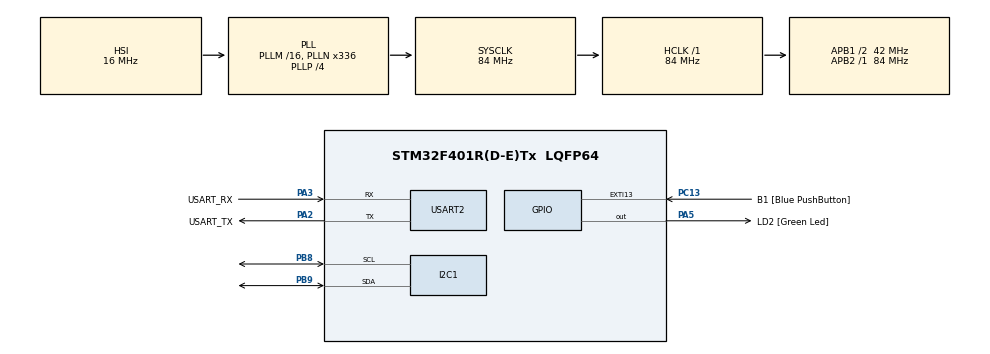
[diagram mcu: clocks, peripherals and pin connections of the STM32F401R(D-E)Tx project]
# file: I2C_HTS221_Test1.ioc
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Mcu.Family=STM32F4
Mcu.Name=STM32F401R(D-E)Tx
Mcu.Package=LQFP64
NVIC.PriorityGroup=NVIC_PRIORITYGROUP_0
PA13.GPIO_Label=TMS
PA13.Mode=Serial_Wire
PA13.Signal=SYS_JTMS-SWDIO
PA14.GPIO_Label=TCK
PA14.Mode=Serial_Wire
PA14.Signal=SYS_JTCK-SWCLK
PA2.GPIO_Label=USART_TX
PA2.GPIO_Mode=GPIO_MODE_AF_PP
PA2.GPIO_PuPd=GPIO_NOPULL
PA2.GPIO_Speed=GPIO_SPEED_FREQ_LOW
PA2.Mode=Asynchronous
PA2.Signal=USART2_TX
PA3.GPIO_Label=USART_RX
PA3.GPIO_Mode=GPIO_MODE_AF_PP
PA3.GPIO_PuPd=GPIO_NOPULL
PA3.GPIO_Speed=GPIO_SPEED_FREQ_LOW
PA3.Mode=Asynchronous
PA3.Signal=USART2_RX
PA5.GPIO_Label=LD2 [Green Led]
PA5.GPIO_Mode=GPIO_MODE_OUTPUT_PP
PA5.GPIO_PuPd=GPIO_NOPULL
PA5.GPIO_Speed=GPIO_SPEED_FREQ_LOW
PA5.Signal=GPIO_Output
PB3.GPIO_Label=SWO
PB3.Signal=SYS_JTDO-SWO
PB8.Mode=I2C
PB8.Signal=I2C1_SCL
PB9.Mode=I2C
PB9.Signal=I2C1_SDA
PC13-ANTI_TAMP.GPIO_Label=B1 [Blue PushButton]
PC13-ANTI_TAMP.GPIO_ModeDefaultEXTI=GPIO_MODE_IT_FALLING
PC13-ANTI_TAMP.GPIO_PuPd=GPIO_NOPULL
PC13-ANTI_TAMP.Signal=GPXTI13
PC14-OSC32_IN.Mode=LSE-External-Oscillator
PC14-OSC32_IN.Signal=RCC_OSC32_IN
PC15-OSC32_OUT.Mode=LSE-External-Oscillator
PC15-OSC32_OUT.Signal=RCC_OSC32_OUT
PH0\ -\ OSC_IN.Mode=HSE-External-Clock-Source
PH0\ -\ OSC_IN.Signal=RCC_OSC_IN
PH1\ -\ OSC_OUT.Mode=HSE-External-Clock-Source
PH1\ -\ OSC_OUT.Signal=RCC_OSC_OUT
ProjectManager.HeapSize=0x200
ProjectManager.StackSize=0x400
ProjectManager.TargetToolchain=SW4STM32
RCC.48MHZClocksFreq_Value=48000000
RCC.AHBFreq_Value=84000000
RCC.APB1CLKDivider=RCC_HCLK_DIV2
RCC.APB1Freq_Value=42000000
RCC.APB1TimFreq_Value=84000000
RCC.APB2Freq_Value=84000000
RCC.APB2TimFreq_Value=84000000
RCC.CortexFreq_Value=84000000
RCC.HCLKFreq_Value=84000000
RCC.HSE_VALUE=8000000
RCC.HSI_VALUE=16000000
RCC.PLLN=336
RCC.PLLP=RCC_PLLP_DIV4
RCC.PLLQ=7
RCC.SYSCLKFreq_VALUE=84000000
RCC.SYSCLKSource=RCC_SYSCLKSOURCE_PLLCLK
RCC.VCOOutputFreq_Value=336000000
USART2.VirtualMode=VM_ASYNC
board=NUCLEO-F401RE

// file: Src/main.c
/**
 ******************************************************************************
 * @file           : main.c
 * @brief          : Main program body
 ******************************************************************************
 ** This notice applies to any and all portions of this file
 * that are not between comment pairs USER CODE BEGIN and
 * USER CODE END. Other portions of this file, whether
 * inserted by the user or by software development tools
 * are owned by their respective copyright owners.
 *
 * COPYRIGHT(c) 2018 STMicroelectronics
 *
 * Redistribution and use in source and binary forms, with or without modification,
 * are permitted provided that the following conditions are met:
 *   1. Redistributions of source code must retain the above copyright notice,
 *      this list of conditions and the following disclaimer.
 *   2. Redistributions in binary form must reproduce the above copyright notice,
 *      this list of conditions and the following disclaimer in the documentation
 *      and/or other materials provided with the distribution.
 *   3. Neither the name of STMicroelectronics nor the names of its contributors
 *      may be used to endorse or promote products derived from this software
 *      without specific prior written permission.
 *
 * THIS SOFTWARE IS PROVIDED BY THE COPYRIGHT HOLDERS AND CONTRIBUTORS "AS IS"
 * AND ANY EXPRESS OR IMPLIED WARRANTIES, INCLUDING, BUT NOT LIMITED TO, THE
 * IMPLIED WARRANTIES OF MERCHANTABILITY AND FITNESS FOR A PARTICULAR PURPOSE ARE
 * DISCLAIMED. IN NO EVENT SHALL THE COPYRIGHT HOLDER OR CONTRIBUTORS BE LIABLE
 * FOR ANY DIRECT, INDIRECT, INCIDENTAL, SPECIAL, EXEMPLARY, OR CONSEQUENTIAL
 * DAMAGES (INCLUDING, BUT NOT LIMITED TO, PROCUREMENT OF SUBSTITUTE GOODS OR
 * SERVICES; LOSS OF USE, DATA, OR PROFITS; OR BUSINESS INTERRUPTION) HOWEVER
 * CAUSED AND ON ANY THEORY OF LIABILITY, WHETHER IN CONTRACT, STRICT LIABILITY,
 * OR TORT (INCLUDING NEGLIGENCE OR OTHERWISE) ARISING IN ANY WAY OUT OF THE USE
 * OF THIS SOFTWARE, EVEN IF ADVISED OF THE POSSIBILITY OF SUCH DAMAGE.
 *
 ******************************************************************************
 */
#include "main.h"
#include "stm32f4xx_hal.h"

/* USER CODE BEGIN Includes */

#include "HTS221_driver.h"

/* USER CODE END Includes */

I2C_HandleTypeDef hi2c1;

UART_HandleTypeDef huart2;

/* USER CODE BEGIN PV */
/* Private variables ---------------------------------------------------------*/

/* USER CODE END PV */

void SystemClock_Config(void);
static void MX_GPIO_Init(void);
static void MX_USART2_UART_Init(void);
static void MX_I2C1_Init(void);

/* USER CODE BEGIN PFP */
/* Private function prototypes -----------------------------------------------*/
int hts221_init();
int hts221_enable();
int hts221_read_id(uint8_t *id);
int hts221_get_temperature(float* pfData);
int hts221_get_humidity(float* pfData);

/* USER CODE END PFP */

/* USER CODE BEGIN 0 */

#ifdef __GNUC__
#define PUTCHAR_PROTOTYPE int __io_putchar(int ch)
#else
#define PUTCHAR_PROTOTYPE int fputc(int ch, FILE *f)
#endif /* __GNUC__ */

PUTCHAR_PROTOTYPE {
	HAL_UART_Transmit(&huart2, (uint8_t *) &ch, 1, 0xFFFF);
	return ch;
}

/* USER CODE END 0 */

int main(void) {

	/* MCU Configuration----------------------------------------------------------*/

	/* Reset of all peripherals, Initializes the Flash interface and the Systick. */
	HAL_Init();

	/* Configure the system clock */
	SystemClock_Config();

	/* Initialize all configured peripherals */
	MX_GPIO_Init();
	MX_USART2_UART_Init();
	MX_I2C1_Init();
	/* USER CODE BEGIN 2 */

	//printf("Test %f %i\r\n", 0.1234f, 1234);
	int res;

	//INIT HTS221
	res = hts221_init();
	if (res == 0) {
		printf("HTS221 INIT OK\r\n");
	} else {
		printf("HTS221 INIT ERROR\r\n");
	}

	//ENABLE HTS221
	res = hts221_enable();
	if (res == 0) {
		printf("HTS221 ENABLE OK\r\n");
	} else {
		printf("HTS221 ENABLE ERROR\r\n");
	}

	//READ_ID HTS221
	uint8_t id;
	res = hts221_read_id(&id);
	if (res == 0) {
		printf("HTS221 Address: 0x%X\r\n", id);
	} else {
		printf("HTS221 READ_ID ERROR\r\n");
	}

	//GET_TEMPERATURE HTS221
	float temp, hum;
	uint8_t res2;

	/* USER CODE END 2 */

	/* Infinite loop */
	while (1) {

		/* USER CODE BEGIN 3 */

		res = hts221_get_temperature(&temp);
		res2 = hts221_get_humidity(&hum);
		if (res == 0 && res2 == 0)
			printf("HTS221: [temp] %.2f C, [hum] %.2f %%\r\n", temp, hum);
		else
			printf("HTS221: Error\r\n");
		HAL_Delay(500);

	}
	/* USER CODE END 3 */

}

void SystemClock_Config(void) {

	RCC_OscInitTypeDef RCC_OscInitStruct;
	RCC_ClkInitTypeDef RCC_ClkInitStruct;

	/**Configure the main internal regulator output voltage
	 */
	__HAL_RCC_PWR_CLK_ENABLE()
	;

	__HAL_PWR_VOLTAGESCALING_CONFIG(PWR_REGULATOR_VOLTAGE_SCALE2);

	/**Initializes the CPU, AHB and APB busses clocks
	 */
	RCC_OscInitStruct.OscillatorType = RCC_OSCILLATORTYPE_HSI;
	RCC_OscInitStruct.HSIState = RCC_HSI_ON;
	RCC_OscInitStruct.HSICalibrationValue = 16;
	RCC_OscInitStruct.PLL.PLLState = RCC_PLL_ON;
	RCC_OscInitStruct.PLL.PLLSource = RCC_PLLSOURCE_HSI;
	RCC_OscInitStruct.PLL.PLLM = 16;
	RCC_OscInitStruct.PLL.PLLN = 336;
	RCC_OscInitStruct.PLL.PLLP = RCC_PLLP_DIV4;
	RCC_OscInitStruct.PLL.PLLQ = 7;
	if (HAL_RCC_OscConfig(&RCC_OscInitStruct) != HAL_OK) {
		_Error_Handler(__FILE__, __LINE__);
	}

	/**Initializes the CPU, AHB and APB busses clocks
	 */
	RCC_ClkInitStruct.ClockType = RCC_CLOCKTYPE_HCLK | RCC_CLOCKTYPE_SYSCLK
			| RCC_CLOCKTYPE_PCLK1 | RCC_CLOCKTYPE_PCLK2;
	RCC_ClkInitStruct.SYSCLKSource = RCC_SYSCLKSOURCE_PLLCLK;
	RCC_ClkInitStruct.AHBCLKDivider = RCC_SYSCLK_DIV1;
	RCC_ClkInitStruct.APB1CLKDivider = RCC_HCLK_DIV2;
	RCC_ClkInitStruct.APB2CLKDivider = RCC_HCLK_DIV1;

	if (HAL_RCC_ClockConfig(&RCC_ClkInitStruct, FLASH_LATENCY_2) != HAL_OK) {
		_Error_Handler(__FILE__, __LINE__);
	}

	/**Configure the Systick interrupt time
	 */
	HAL_SYSTICK_Config(HAL_RCC_GetHCLKFreq() / 1000);

	/**Configure the Systick
	 */
	HAL_SYSTICK_CLKSourceConfig(SYSTICK_CLKSOURCE_HCLK);

	/* SysTick_IRQn interrupt configuration */
	HAL_NVIC_SetPriority(SysTick_IRQn, 0, 0);
}

/* I2C1 init function */
static void MX_I2C1_Init(void) {

	hi2c1.Instance = I2C1;
	hi2c1.Init.ClockSpeed = 100000;
	hi2c1.Init.DutyCycle = I2C_DUTYCYCLE_2;
	hi2c1.Init.OwnAddress1 = 0;
	hi2c1.Init.AddressingMode = I2C_ADDRESSINGMODE_7BIT;
	hi2c1.Init.DualAddressMode = I2C_DUALADDRESS_DISABLE;
	hi2c1.Init.OwnAddress2 = 0;
	hi2c1.Init.GeneralCallMode = I2C_GENERALCALL_DISABLE;
	hi2c1.Init.NoStretchMode = I2C_NOSTRETCH_DISABLE;
	if (HAL_I2C_Init(&hi2c1) != HAL_OK) {
		_Error_Handler(__FILE__, __LINE__);
	}

}

/* USART2 init function */
static void MX_USART2_UART_Init(void) {

	huart2.Instance = USART2;
	huart2.Init.BaudRate = 115200;
	huart2.Init.WordLength = UART_WORDLENGTH_8B;
	huart2.Init.StopBits = UART_STOPBITS_1;
	huart2.Init.Parity = UART_PARITY_NONE;
	huart2.Init.Mode = UART_MODE_TX_RX;
	huart2.Init.HwFlowCtl = UART_HWCONTROL_NONE;
	huart2.Init.OverSampling = UART_OVERSAMPLING_16;
	if (HAL_UART_Init(&huart2) != HAL_OK) {
		_Error_Handler(__FILE__, __LINE__);
	}

}

/** Configure pins as
 * Analog
 * Input
 * Output
 * EVENT_OUT
 * EXTI
 */
static void MX_GPIO_Init(void) {

	GPIO_InitTypeDef GPIO_InitStruct;

	/* GPIO Ports Clock Enable */
	__HAL_RCC_GPIOC_CLK_ENABLE()
	;
	__HAL_RCC_GPIOH_CLK_ENABLE()
	;
	__HAL_RCC_GPIOA_CLK_ENABLE()
	;
	__HAL_RCC_GPIOB_CLK_ENABLE()
	;

	/*Configure GPIO pin Output Level */
	HAL_GPIO_WritePin(LD2_GPIO_Port, LD2_Pin, GPIO_PIN_RESET);

	/*Configure GPIO pin : B1_Pin */
	GPIO_InitStruct.Pin = B1_Pin;
	GPIO_InitStruct.Mode = GPIO_MODE_IT_FALLING;
	GPIO_InitStruct.Pull = GPIO_NOPULL;
	HAL_GPIO_Init(B1_GPIO_Port, &GPIO_InitStruct);

	/*Configure GPIO pin : LD2_Pin */
	GPIO_InitStruct.Pin = LD2_Pin;
	GPIO_InitStruct.Mode = GPIO_MODE_OUTPUT_PP;
	GPIO_InitStruct.Pull = GPIO_NOPULL;
	GPIO_InitStruct.Speed = GPIO_SPEED_FREQ_LOW;
	HAL_GPIO_Init(LD2_GPIO_Port, &GPIO_InitStruct);

}

/* USER CODE BEGIN 4 */

int hts221_set_odr(float odr) {
	HTS221_Odr_et new_odr;
	new_odr = (odr <= 1.0f) ? HTS221_ODR_1HZ :
				(odr <= 7.0f) ? HTS221_ODR_7HZ : HTS221_ODR_12_5HZ;

	if (HTS221_Set_Odr(&hi2c1, new_odr) == HTS221_ERROR) {
		return 1;
	}

	return 0;
}

int hts221_init() {
	if (HTS221_DeActivate(&hi2c1) == HTS221_ERROR) {
		return 1;
	}
	if (HTS221_Set_BduMode(&hi2c1, HTS221_ENABLE) == HTS221_ERROR) {
		return 1;
	}
	if (hts221_set_odr(1.0f) == 1) {
		return 1;
	}
	return 0;
}

int hts221_enable() {
	/* Power up the device */
	if (HTS221_Activate(&hi2c1) == HTS221_ERROR) {
		return 1;
	}

	return 0;
}

int hts221_read_id(uint8_t *id) {
	if (!id) {
		return 1;
	}

	/* Read WHO AM I register */
	if (HTS221_Get_DeviceID(&hi2c1, id) == HTS221_ERROR) {
		return 1;
	}

	return 0;
}

int hts221_get_temperature(float* pfData) {
	int16_t int16data = 0;

	/* Read data from HTS221. */
	if (HTS221_Get_Temperature(&hi2c1, &int16data) == HTS221_ERROR) {
		return 1;
	}

	*pfData = (float) int16data / 10.0f;

	return 0;
}

int hts221_get_humidity(float* pfData) {
	uint16_t uint16data = 0;

	/* Read data from HTS221. */
	if (HTS221_Get_Humidity(&hi2c1, &uint16data) == HTS221_ERROR) {
		return 1;
	}

	*pfData = (float) uint16data / 10.0f;

	return 0;
}

/* USER CODE END 4 */

void _Error_Handler(char *file, int line) {
	while (1) {
	}
}

/************************ (C) COPYRIGHT STMicroelectronics *****END OF FILE****/
